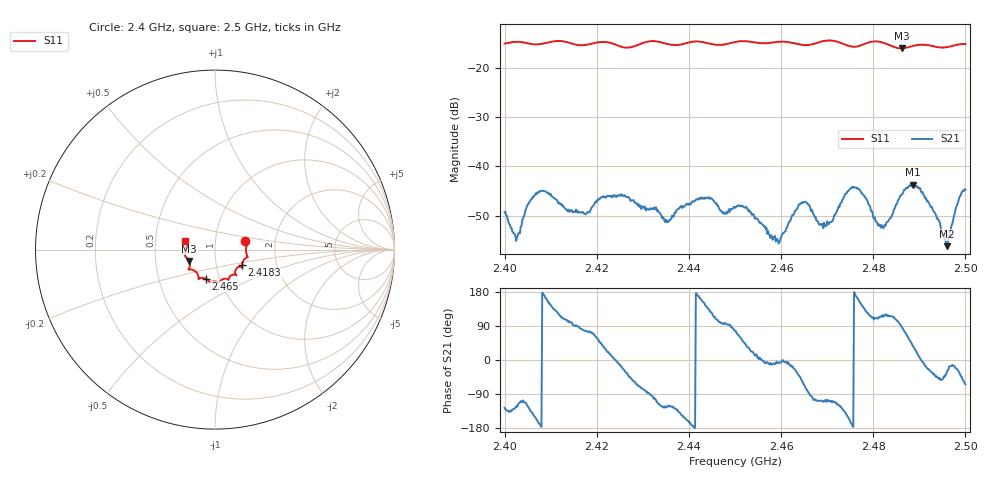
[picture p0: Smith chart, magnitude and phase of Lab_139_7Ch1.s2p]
# Hz S RI R 50
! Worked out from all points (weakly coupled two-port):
!   601 points, 2.4 GHz to 2.5 GHz, reference 50 ohm
!   highest |S21| = -43.68 dB at 2.4887 GHz (marker M1); lowest = -56.2 dB at 2.496 GHz (marker M2)
!   lowest |S11| = -16.1 dB at 2.4862 GHz (marker M3), VSWR 1.37, Z = 37.2 - j4.81 ohm
!   |S11| at or under -10 dB: start of sweep to end of sweep
!   S12 and S22 are empty: the file has one direction only
!   S11 on the Smith chart (normalised r, x): 2.4 GHz: 1.40, +0.13; 2.4183 GHz: 1.33, -0.24; 2.465 GHz: 0.86, -0.29; 2.5 GHz: 0.71, +0.07
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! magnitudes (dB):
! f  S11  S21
! 2.4 GHz  -15.1  -49.3
! 2.4025 GHz  -14.7  -55.1
! 2.4052 GHz  -15.1  -47.7
! 2.4077 GHz  -15.2  -45.0
! 2.4167 GHz  -15.4  -49.4
! 2.4183 GHz  -15.2  -49.4
! 2.425 GHz  -15.6  -45.8
! 2.4333 GHz  -14.7  -49.2
! 2.4353 GHz  -15.2  -51.3
! 2.4437 GHz  -14.9  -46.3
! 2.45 GHz  -14.8  -48.4
! 2.4593 GHz  -14.7  -55.2
! 2.465 GHz  -15.4  -47.3
! 2.4667 GHz  -15.3  -48.8
! 2.47 GHz  -14.5  -51.1
! 2.476 GHz  -15.8  -44.2
! 2.4812 GHz  -14.7  -51.7
! 2.4833 GHz  -15.3  -51.0
! 2.4862 GHz  -16.1  -45.8
! 2.4887 GHz  -15.6  -43.7
! 2.496 GHz  -15.8  -56.2
! 2.5 GHz  -15.2  -44.7
